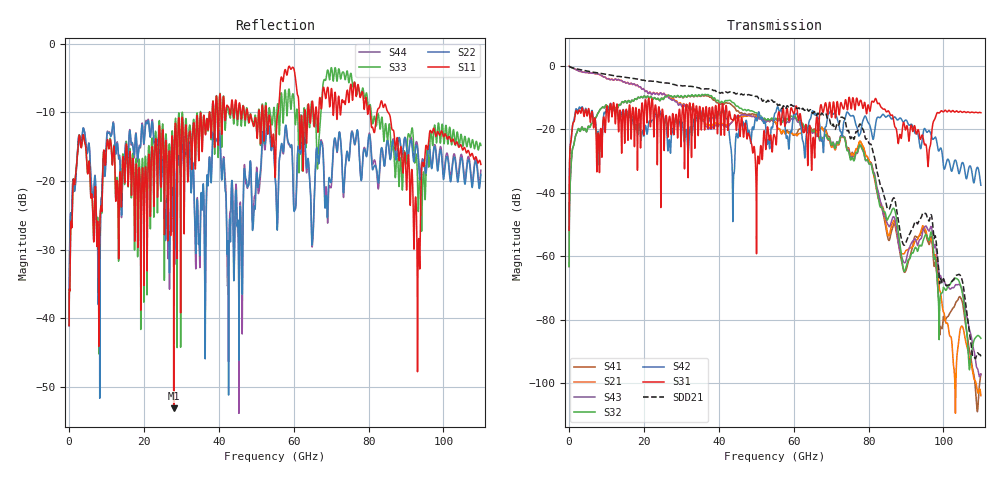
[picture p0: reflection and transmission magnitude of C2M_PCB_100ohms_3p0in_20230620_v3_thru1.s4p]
! Info: Touchstone file created by Circ.  Input file=C2M_PCB_100ohms_3p0in_20230620_v3.circ
# Hz S RI R 50
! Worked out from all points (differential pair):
!   11000 points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, 10 MHz to 110 GHz, reference 50 ohm
!   strongest paths, dB at 10 MHz, 27.51 GHz, 55.01 GHz, 82.51 GHz, 110 GHz:
!     S31: -51.8, -16.8, -22.4, -11.9, -14.7
!     S42: -51.7, -19.7, -14.8, -16.1, -37.6
!     S32: -63.3, -9.6, -16.6, -40.9, -85.9
!     S43: -0.1, -10.8, -16.9, -39.2, -97.2
!     S21: -0.1, -10.5, -17.6, -41.5, -104.0
!     S41: -63.2, -9.8, -17.8, -40.3, -97.1
!   taken as a pair (ports 3,1 in; 4,2 out), SDD21 dB: -0.1, -5.7, -11.3, -34.4, -91.7
!   lowest |S11| = -53.2 dB at 27.95 GHz (marker M1), VSWR 1.00, Z = 50.1 + j0.211 ohm
!   |S11| at or under -10 dB: start of sweep to 37.47 GHz; 52.73 GHz to 55.82 GHz (3.09 GHz wide, 5.69 % of centre); 85.24 GHz to end of sweep (the widest 3 of 26)
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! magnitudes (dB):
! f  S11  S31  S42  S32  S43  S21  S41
! 10 MHz  -41.1  -51.8  -51.7  -63.3  -0.1  -0.1  -63.2
! 2.27 GHz  -16.1  -15.1  -14.3  -20.4  -1.4  -1.4  -20.4
! 27.95 GHz  -53.2  -19.6  -21.7  -9.5  -10.6  -10.4  -9.8
! 50.33 GHz  -13.3  -29.6  -16.4  -15.1  -16.2  -15.9  -15.6
! 77.96 GHz  -7.5  -10.9  -20.5  -25.3  -25.4  -24.0  -24.1
! 89.49 GHz  -16.4  -18.1  -17.5  -64.8  -62.0  -59.2  -64.9
! 110 GHz  -17.6  -14.7  -37.6  -85.9  -97.2  -104.0  -97.1
